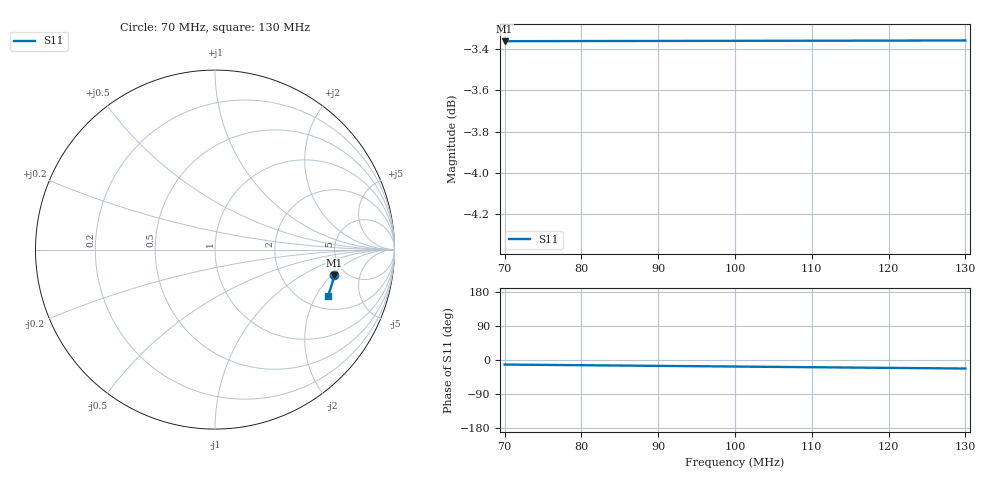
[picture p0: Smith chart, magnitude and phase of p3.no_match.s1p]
# Hz S RI R 50
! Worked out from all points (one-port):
!   10000 points, 70 MHz to 130 MHz, reference 50 ohm
!   lowest |S11| = -3.4 dB at 70 MHz (marker M1), VSWR 5.23, Z = 203 - j106 ohm
!   |S11| at or under -10 dB: nowhere
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7e7  0.6643 -0.1412
7.014401e7  0.6643 -0.1415
7.029403e7  0.6642 -0.1418
7.389439e7  0.6626 -0.1491
7.750075e7  0.6609 -0.1565
7.937294e7  0.66 -0.1603
8.125113e7  0.6591 -0.1641
8.312331e7  0.6581 -0.1679
8.50015e7  0.6572 -0.1717
8.687369e7  0.6562 -0.1755
8.875188e7  0.6552 -0.1792
9.062406e7  0.6541 -0.183
9.250225e7  0.6531 -0.1868
9.437444e7  0.652 -0.1905
9.625263e7  0.6509 -0.1943
9.812481e7  0.6498 -0.198
1.00003e8  0.6486 -0.2017
1.018752e8  0.6475 -0.2054
1.037534e8  0.6463 -0.2092
1.075038e8  0.6439 -0.2166
1.112541e8  0.6414 -0.2239
1.150045e8  0.6388 -0.2313
1.187549e8  0.6361 -0.2386
1.225053e8  0.6333 -0.2459
1.260996e8  0.6306 -0.2528
1.297e8  0.6278 -0.2597
1.2985e8  0.6277 -0.26
1.3e8  0.6276 -0.2603
